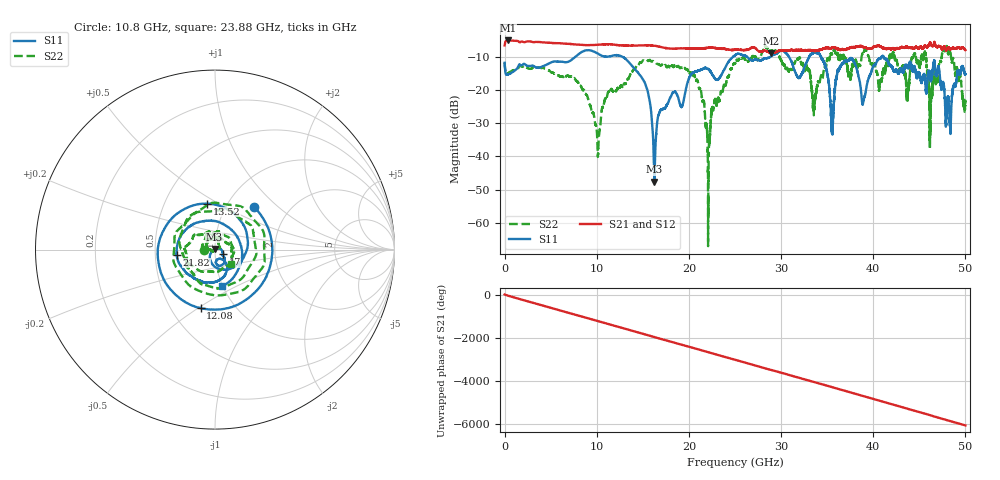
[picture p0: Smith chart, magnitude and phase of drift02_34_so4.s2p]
!Created with skrf (http://scikit-rf.org).
# Hz S RI R 50.0
!freq ReS11 ImS11 ReS21 ImS21 ReS12 ImS12 ReS22 ImS22
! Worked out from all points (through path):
!   10001 points, 300 kHz to 50 GHz, reference 50 ohm
!   highest |S21| = -5.04 dB at 360.3 MHz (marker M1); lowest = -8.9 dB at 28.96 GHz (marker M2)
!   group delay of S21, straight-line fit = 336 ps
!   lowest |S11| = -47.6 dB at 16.25 GHz (marker M3), VSWR 1.01, Z = 49.8 + j0.334 ohm
!   |S11| at or under -10 dB: start of sweep to 7.665 GHz; 12.81 GHz to 24.78 GHz (11.96 GHz wide, 63.6 % of centre); 41.13 GHz to end of sweep (the widest 3 of 9)
!   |S22| runs from -67.1 to -6.7 dB; largest |S21 - S12| = 0.031
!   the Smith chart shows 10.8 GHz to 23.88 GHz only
!   S11 on the Smith chart (normalised r, x): 10.8 GHz: 1.35, +0.71; 12.08 GHz: 0.70, -0.51; 13.52 GHz: 0.80, +0.44; 17 GHz: 1.09, -0.06; 21.82 GHz: 0.65, -0.04; 23.88 GHz: 0.99, -0.42
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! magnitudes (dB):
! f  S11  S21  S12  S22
! 300 kHz  -11.8  -6.5  -6.5  -11.7
! 360.3 MHz  -15.3  -5.0  -5.0  -15.0
! 8.335 GHz  -8.6  -6.4  -6.4  -19.1
! 10.11 GHz  -9.0  -6.3  -6.3  -38.6
! 10.8 GHz  -9.9  -6.2  -6.2  -23.9
! 12.08 GHz  -9.5  -6.4  -6.4  -20.3
! 13.52 GHz  -11.7  -6.6  -6.6  -16.1
! 16.25 GHz  -47.6  -6.6  -6.6  -11.7
! 16.67 GHz  -27.8  -6.8  -6.8  -12.2
! 17 GHz  -26.0  -7.1  -7.0  -12.5
! 21.82 GHz  -13.3  -7.4  -7.4  -30.8
! 23.88 GHz  -13.6  -7.6  -7.6  -18.5
! 25 GHz  -9.5  -7.8  -7.9  -12.0
! 28.96 GHz  -9.8  -8.9  -8.9  -8.1
! 33.34 GHz  -9.1  -8.0  -8.0  -19.9
! 35.55 GHz  -31.3  -7.2  -7.3  -9.2
! 36.78 GHz  -11.9  -7.8  -7.9  -9.9
! 41.67 GHz  -11.9  -7.3  -7.5  -12.0
! 45.5 GHz  -15.3  -7.0  -6.9  -9.6
! 46.25 GHz  -17.3  -6.0  -6.1  -21.5
! 48.12 GHz  -22.5  -7.2  -7.1  -9.0
! 50 GHz  -15.2  -7.9  -7.9  -23.7
